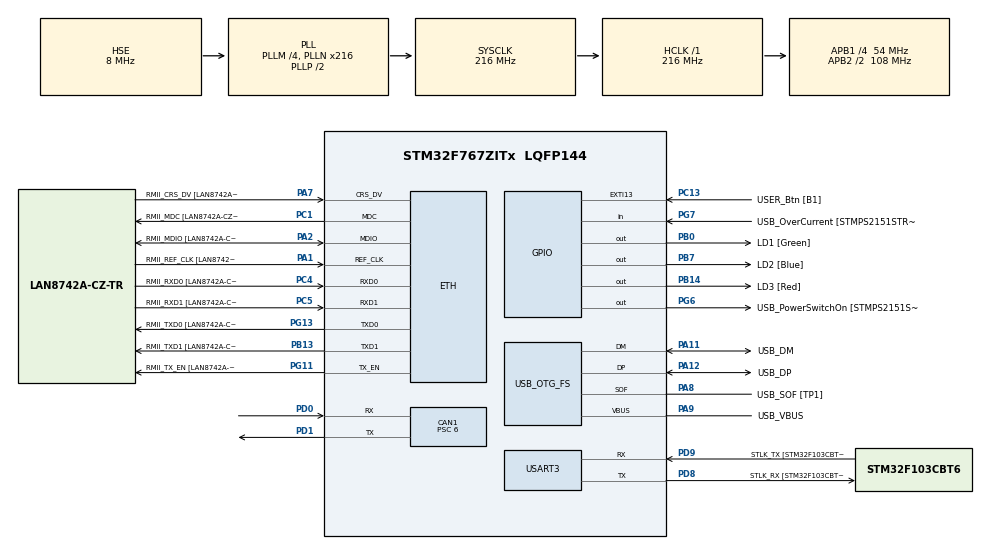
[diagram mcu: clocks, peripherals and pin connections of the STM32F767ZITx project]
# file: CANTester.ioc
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CAN1.BS1=CAN_BS1_7TQ
CAN1.CalculateBaudRate=1000000
CAN1.CalculateTimeBit=1000
CAN1.CalculateTimeQuantum=111.11111111111111
CAN1.NART=ENABLE
CAN1.Prescaler=6
CAN1.SJW=CAN_SJW_2TQ
ETH.MediaInterface=HAL_ETH_RMII_MODE
ETH.PHY_Name=LAN8742A_PHY_ADDRESS
ETH.PHY_Value=0
ETH.PhyAddress=0
Mcu.Family=STM32F7
Mcu.Name=STM32F767ZITx
Mcu.Package=LQFP144
NVIC.CAN1_RX0_IRQn=true\:0\:0\:false\:false\:true\:true\:true\:true
NVIC.CAN1_RX1_IRQn=true\:0\:0\:false\:false\:true\:true\:true\:true
NVIC.CAN1_SCE_IRQn=true\:0\:0\:false\:false\:true\:true\:true\:true
NVIC.CAN1_TX_IRQn=true\:0\:0\:false\:false\:true\:true\:true\:true
NVIC.PriorityGroup=NVIC_PRIORITYGROUP_4
PA1.GPIO_Label=RMII_REF_CLK [LAN8742A-CZ-TR_REFCLK0]
PA1.Mode=RMII
PA1.Signal=ETH_REF_CLK
PA10.GPIO_Label=USB_ID
PA10.Signal=USB_OTG_FS_ID
PA11.GPIO_Label=USB_DM
PA11.Mode=Device_Only
PA11.Signal=USB_OTG_FS_DM
PA12.GPIO_Label=USB_DP
PA12.Mode=Device_Only
PA12.Signal=USB_OTG_FS_DP
PA13.GPIO_Label=TMS
PA13.Mode=Serial_Wire
PA13.Signal=SYS_JTMS-SWDIO
PA14.GPIO_Label=TCK
PA14.Mode=Serial_Wire
PA14.Signal=SYS_JTCK-SWCLK
PA2.GPIO_Label=RMII_MDIO [LAN8742A-CZ-TR_MDIO]
PA2.Mode=RMII
PA2.Signal=ETH_MDIO
PA7.GPIO_Label=RMII_CRS_DV [LAN8742A-CZ-TR_CRS_DV]
PA7.Mode=RMII
PA7.Signal=ETH_CRS_DV
PA8.GPIO_Label=USB_SOF [TP1]
PA8.Mode=Activate_SOF_FS
PA8.Signal=USB_OTG_FS_SOF
PA9.GPIO_Label=USB_VBUS
PA9.Mode=Activate_VBUS
PA9.Signal=USB_OTG_FS_VBUS
PB0.GPIO_Label=LD1 [Green]
PB0.Signal=GPIO_Output
PB13.GPIO_Label=RMII_TXD1 [LAN8742A-CZ-TR_TXD1]
PB13.Mode=RMII
PB13.Signal=ETH_TXD1
PB14.GPIO_Label=LD3 [Red]
PB14.Signal=GPIO_Output
PB3.GPIO_Label=SWO
PB3.Signal=SYS_JTDO-SWO
PB7.GPIO_Label=LD2 [Blue]
PB7.Signal=GPIO_Output
PC1.GPIO_Label=RMII_MDC [LAN8742A-CZ-TR_MDC]
PC1.Mode=RMII
PC1.Signal=ETH_MDC
PC13.GPIO_Label=USER_Btn [B1]
PC13.Signal=GPXTI13
PC14/OSC32_IN.Mode=LSE-External-Oscillator
PC14/OSC32_IN.Signal=RCC_OSC32_IN
PC15/OSC32_OUT.Mode=LSE-External-Oscillator
PC15/OSC32_OUT.Signal=RCC_OSC32_OUT
PC4.GPIO_Label=RMII_RXD0 [LAN8742A-CZ-TR_RXD0]
PC4.Mode=RMII
PC4.Signal=ETH_RXD0
PC5.GPIO_Label=RMII_RXD1 [LAN8742A-CZ-TR_RXD1]
PC5.Mode=RMII
PC5.Signal=ETH_RXD1
PD0.Mode=CAN_Activate
PD0.Signal=CAN1_RX
PD1.Mode=CAN_Activate
PD1.Signal=CAN1_TX
PD8.GPIO_Label=STLK_RX [STM32F103CBT6_PA3]
PD8.Mode=Asynchronous
PD8.Signal=USART3_TX
PD9.GPIO_Label=STLK_TX [STM32F103CBT6_PA2]
PD9.Mode=Asynchronous
PD9.Signal=USART3_RX
PG11.GPIO_Label=RMII_TX_EN [LAN8742A-CZ-TR_TXEN]
PG11.Mode=RMII
PG11.Signal=ETH_TX_EN
PG13.GPIO_Label=RMII_TXD0 [LAN8742A-CZ-TR_TXD0]
PG13.Mode=RMII
PG13.Signal=ETH_TXD0
PG6.GPIO_Label=USB_PowerSwitchOn [STMPS2151STR_EN]
PG6.Signal=GPIO_Output
PG7.GPIO_Label=USB_OverCurrent [STMPS2151STR_FAULT]
PG7.Signal=GPIO_Input
PH0/OSC_IN.GPIO_Label=MCO [STM32F103CBT6_PA8]
PH0/OSC_IN.Mode=HSE-External-Clock-Source
PH0/OSC_IN.Signal=RCC_OSC_IN
PH1/OSC_OUT.Mode=HSE-External-Clock-Source
PH1/OSC_OUT.Signal=RCC_OSC_OUT
ProjectManager.HeapSize=0x200
ProjectManager.StackSize=0x400
ProjectManager.TargetToolchain=STM32CubeIDE
RCC.48MHZClocksFreq_Value=24000000
RCC.AHBFreq_Value=216000000
RCC.APB1CLKDivider=RCC_HCLK_DIV4
RCC.APB1Freq_Value=54000000
RCC.APB1TimFreq_Value=108000000
RCC.APB2CLKDivider=RCC_HCLK_DIV2
RCC.APB2Freq_Value=108000000
RCC.APB2TimFreq_Value=216000000
RCC.CortexFreq_Value=216000000
RCC.HCLKFreq_Value=216000000
RCC.HSE_VALUE=8000000
RCC.HSI_VALUE=16000000
RCC.PLLM=4
RCC.PLLMUL=RCC_PLL_MUL9
RCC.PLLN=216
RCC.PLLQ=9
RCC.PRESCALERUSB=RCC_USBCLKSOURCE_PLL_DIV1_5
RCC.SYSCLKFreq_VALUE=216000000
RCC.SYSCLKSource=RCC_SYSCLKSOURCE_PLLCLK
RCC.SYSCLKSourceVirtual=RCC_SYSCLKSOURCE_PLLCLK
RCC.USBFreq_Value=48000000
RCC.VCOOutputFreq_Value=432000000
USART3.VirtualMode-Asynchronous=VM_ASYNC
USB_OTG_FS.VirtualMode=Device_Only
board=NUCLEO-F767ZI

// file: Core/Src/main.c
/* USER CODE BEGIN Header */
/**
 ******************************************************************************
 * @file           : main.c
 * @brief          : Main program body
 ******************************************************************************
 * @attention
 *
 * Copyright (c) 2022 STMicroelectronics.
 * All rights reserved.
 *
 * This software is licensed under terms that can be found in the LICENSE file
 * in the root directory of this software component.
 * If no LICENSE file comes with this software, it is provided AS-IS.
 *
 ******************************************************************************
 */
/* USER CODE END Header */
#include "main.h"
#include "string.h"
#include "libswap.h"

/* USER CODE BEGIN Includes */
#include "CANAgent.h"
/* USER CODE END Includes */

#if defined ( __ICCARM__ ) /*!< IAR Compiler */
#pragma location=0x2007c000
ETH_DMADescTypeDef  DMARxDscrTab[ETH_RX_DESC_CNT]; /* Ethernet Rx DMA Descriptors */
#pragma location=0x2007c0a0
ETH_DMADescTypeDef  DMATxDscrTab[ETH_TX_DESC_CNT]; /* Ethernet Tx DMA Descriptors */

#elif defined ( __CC_ARM )  /* MDK ARM Compiler */

__attribute__((at(0x2007c000))) ETH_DMADescTypeDef  DMARxDscrTab[ETH_RX_DESC_CNT]; /* Ethernet Rx DMA Descriptors */
__attribute__((at(0x2007c0a0))) ETH_DMADescTypeDef  DMATxDscrTab[ETH_TX_DESC_CNT]; /* Ethernet Tx DMA Descriptors */

#elif defined ( __GNUC__ ) /* GNU Compiler */
ETH_DMADescTypeDef DMARxDscrTab[ETH_RX_DESC_CNT] __attribute__((section(".RxDecripSection"))); /* Ethernet Rx DMA Descriptors */
ETH_DMADescTypeDef DMATxDscrTab[ETH_TX_DESC_CNT] __attribute__((section(".TxDecripSection")));   /* Ethernet Tx DMA Descriptors */

#endif

ETH_TxPacketConfig TxConfig;

CAN_HandleTypeDef hcan1;

ETH_HandleTypeDef heth;

UART_HandleTypeDef huart3;

PCD_HandleTypeDef hpcd_USB_OTG_FS;

/* USER CODE BEGIN PV */
CAN_TxHeaderTypeDef   TxHeaderSapState;
CAN_TxHeaderTypeDef   TxHeaderErrorMessage;
//CAN_TxHeaderTypeDef   TxHeader;
//CAN_RxHeaderTypeDef   RxHeader;
//uint8_t               TxData[8];
//uint8_t               RxData[8];
uint32_t              TxMailbox;
/* USER CODE END PV */

void SystemClock_Config(void);
static void MX_GPIO_Init(void);
static void MX_ETH_Init(void);
static void MX_USART3_UART_Init(void);
static void MX_USB_OTG_FS_PCD_Init(void);
static void MX_CAN1_Init(void);

int main(void)
{

  /* MCU Configuration--------------------------------------------------------*/

  /* Reset of all peripherals, Initializes the Flash interface and the Systick. */
  HAL_Init();

  /* Configure the system clock */
  SystemClock_Config();

  /* Initialize all configured peripherals */
  MX_GPIO_Init();
  MX_ETH_Init();
  MX_USART3_UART_Init();
  MX_USB_OTG_FS_PCD_Init();
  MX_CAN1_Init();
  /* USER CODE BEGIN 2 */
  uint8_t msgCounter = 0;
  isGreaterThanZero(-3);
  /* USER CODE END 2 */

  /* Infinite loop */
  /* USER CODE BEGIN WHILE */
	while (1)
	{
		msgCounter++;

		uint32_t localV = 0;
		localV = HAL_CAN_GetTxMailboxesFreeLevel(&hcan1);
		/* Start the Transmission process */
		if (msgCounter >= 9)
		{
			TxData[0] = 0x00;
			TxData[1] = 0xff;
			TxData[2] = 0xAA;
			TxData[3] = 0x00;
			TxData[4] = 0x00;
			TxData[5] = 0x00;
			TxData[6] = 0xAD;
			TxData[7] = 0x3D;
			if (HAL_CAN_AddTxMessage(&hcan1, &TxHeaderSapState, TxData, &TxMailbox) != HAL_OK)
			{
				/* Transmission request Error */
				Error_Handler();
			}
			msgCounter = 0;
		}
		else
		{
			TxData[0] = 0xBB;
			TxData[1] = 0x55;
			TxData[2] = 0x19;
			TxData[3] = 0x00;
			TxData[4] = 0xAA;
			TxData[5] = 0x11;
			TxData[6] = 0x00;
			TxData[7] = 0x00;
			if (HAL_CAN_AddTxMessage(&hcan1, &TxHeaderErrorMessage, TxData, &TxMailbox) != HAL_OK)
			{
				/* Transmission request Error */
				Error_Handler();
			}

		}
		while(HAL_CAN_GetTxMailboxesFreeLevel(&hcan1) != 3)
		{
			localV = HAL_CAN_GetTxMailboxesFreeLevel(&hcan1);
		}
		HAL_Delay(100);

		/*##-5- Start the Reception process ########################################*/
		uint32_t localRet = HAL_CAN_GetRxFifoFillLevel(&hcan1, CAN_RX_FIFO0);
		//	  if(HAL_CAN_GetRxFifoFillLevel(&hcan1, CAN_RX_FIFO0) != 1)
		//	  {
		//		  /* Reception Missing */
		//		  Error_Handler();
		//	  }
		if (localRet > 0)
		{
			if(HAL_CAN_GetRxMessage(&hcan1, CAN_RX_FIFO0, &RxHeader, RxData) != HAL_OK)
			{
				/* Reception Error */
				Error_Handler();
			}
		}
    /* USER CODE END WHILE */

	}
}

void SystemClock_Config(void)
{
  RCC_OscInitTypeDef RCC_OscInitStruct = {0};
  RCC_ClkInitTypeDef RCC_ClkInitStruct = {0};

  /** Configure LSE Drive Capability
  */
  HAL_PWR_EnableBkUpAccess();

  /** Configure the main internal regulator output voltage
  */
  __HAL_RCC_PWR_CLK_ENABLE();
  __HAL_PWR_VOLTAGESCALING_CONFIG(PWR_REGULATOR_VOLTAGE_SCALE1);

  /** Initializes the RCC Oscillators according to the specified parameters
  * in the RCC_OscInitTypeDef structure.
  */
  RCC_OscInitStruct.OscillatorType = RCC_OSCILLATORTYPE_HSE;
  RCC_OscInitStruct.HSEState = RCC_HSE_BYPASS;
  RCC_OscInitStruct.PLL.PLLState = RCC_PLL_ON;
  RCC_OscInitStruct.PLL.PLLSource = RCC_PLLSOURCE_HSE;
  RCC_OscInitStruct.PLL.PLLM = 4;
  RCC_OscInitStruct.PLL.PLLN = 216;
  RCC_OscInitStruct.PLL.PLLP = RCC_PLLP_DIV2;
  RCC_OscInitStruct.PLL.PLLQ = 9;
  RCC_OscInitStruct.PLL.PLLR = 2;
  if (HAL_RCC_OscConfig(&RCC_OscInitStruct) != HAL_OK)
  {
    Error_Handler();
  }

  /** Activate the Over-Drive mode
  */
  if (HAL_PWREx_EnableOverDrive() != HAL_OK)
  {
    Error_Handler();
  }

  /** Initializes the CPU, AHB and APB buses clocks
  */
  RCC_ClkInitStruct.ClockType = RCC_CLOCKTYPE_HCLK|RCC_CLOCKTYPE_SYSCLK
                              |RCC_CLOCKTYPE_PCLK1|RCC_CLOCKTYPE_PCLK2;
  RCC_ClkInitStruct.SYSCLKSource = RCC_SYSCLKSOURCE_PLLCLK;
  RCC_ClkInitStruct.AHBCLKDivider = RCC_SYSCLK_DIV1;
  RCC_ClkInitStruct.APB1CLKDivider = RCC_HCLK_DIV4;
  RCC_ClkInitStruct.APB2CLKDivider = RCC_HCLK_DIV2;

  if (HAL_RCC_ClockConfig(&RCC_ClkInitStruct, FLASH_LATENCY_7) != HAL_OK)
  {
    Error_Handler();
  }
}

static void MX_CAN1_Init(void)
{

  /* USER CODE BEGIN CAN1_Init 0 */
//
  /* USER CODE END CAN1_Init 0 */

  /* USER CODE BEGIN CAN1_Init 1 */
////https://schulz-m.github.io/2017/03/23/stm32-can-id-filter/
  /* USER CODE END CAN1_Init 1 */
  hcan1.Instance = CAN1;
  hcan1.Init.Prescaler = 6;
  hcan1.Init.Mode = CAN_MODE_NORMAL;
  hcan1.Init.SyncJumpWidth = CAN_SJW_2TQ;
  hcan1.Init.TimeSeg1 = CAN_BS1_7TQ;
  hcan1.Init.TimeSeg2 = CAN_BS2_1TQ;
  hcan1.Init.TimeTriggeredMode = DISABLE;
  hcan1.Init.AutoBusOff = DISABLE;
  hcan1.Init.AutoWakeUp = DISABLE;
  hcan1.Init.AutoRetransmission = ENABLE;
  hcan1.Init.ReceiveFifoLocked = DISABLE;
  hcan1.Init.TransmitFifoPriority = DISABLE;
  if (HAL_CAN_Init(&hcan1) != HAL_OK)
  {
    Error_Handler();
  }
  /* USER CODE BEGIN CAN1_Init 2 */
	CAN_FilterTypeDef  sFilterConfig;
	sFilterConfig.FilterBank = 0;
	sFilterConfig.FilterMode = CAN_FILTERMODE_IDMASK;
	sFilterConfig.FilterScale = CAN_FILTERSCALE_32BIT;
	sFilterConfig.FilterIdHigh = 0x0000;
	sFilterConfig.FilterIdLow = 0x0000;
	sFilterConfig.FilterMaskIdHigh = 0x0000;
	sFilterConfig.FilterMaskIdLow = 0x0000;
	sFilterConfig.FilterFIFOAssignment = CAN_RX_FIFO0;
	sFilterConfig.FilterActivation = ENABLE;
	sFilterConfig.SlaveStartFilterBank = 14;

	if (HAL_CAN_ConfigFilter(&hcan1, &sFilterConfig) != HAL_OK)
	{
		/* Filter configuration Error */
		Error_Handler();
	}

	/*##-3- Start the CAN peripheral ###########################################*/
	if (HAL_CAN_Start(&hcan1) != HAL_OK)
	{
		/* Start Error */
		Error_Handler();
	}

	/*##-4- Activate CAN RX notification #######################################*/
	if (HAL_CAN_ActivateNotification(&hcan1, CAN_IT_RX_FIFO0_MSG_PENDING) != HAL_OK)
	{
		/* Notification Error */
		Error_Handler();
	}

	/*##-5- Configure Transmission process #####################################*/
	TxHeaderSapState.StdId = 0x160;
	TxHeaderSapState.ExtId = 0x00;
	TxHeaderSapState.RTR = CAN_RTR_DATA;
	TxHeaderSapState.IDE = CAN_ID_STD;
	TxHeaderSapState.DLC = 8;
	TxHeaderSapState.TransmitGlobalTime = DISABLE;

	TxHeaderErrorMessage.StdId = 0x085;
	TxHeaderErrorMessage.ExtId = 0x00;
	TxHeaderErrorMessage.RTR = CAN_RTR_DATA;
	TxHeaderErrorMessage.IDE = CAN_ID_STD;
	TxHeaderErrorMessage.DLC = 8;
	TxHeaderErrorMessage.TransmitGlobalTime = DISABLE;
  /* USER CODE END CAN1_Init 2 */

}

static void MX_ETH_Init(void)
{

  /* USER CODE BEGIN ETH_Init 0 */
//
  /* USER CODE END ETH_Init 0 */

   static uint8_t MACAddr[6];

  /* USER CODE BEGIN ETH_Init 1 */
//
  /* USER CODE END ETH_Init 1 */
  heth.Instance = ETH;
  MACAddr[0] = 0x00;
  MACAddr[1] = 0x80;
  MACAddr[2] = 0xE1;
  MACAddr[3] = 0x00;
  MACAddr[4] = 0x00;
  MACAddr[5] = 0x00;
  heth.Init.MACAddr = &MACAddr[0];
  heth.Init.MediaInterface = HAL_ETH_RMII_MODE;
  heth.Init.TxDesc = DMATxDscrTab;
  heth.Init.RxDesc = DMARxDscrTab;
  heth.Init.RxBuffLen = 1524;

  /* USER CODE BEGIN MACADDRESS */
//
  /* USER CODE END MACADDRESS */

  if (HAL_ETH_Init(&heth) != HAL_OK)
  {
    Error_Handler();
  }

  memset(&TxConfig, 0 , sizeof(ETH_TxPacketConfig));
  TxConfig.Attributes = ETH_TX_PACKETS_FEATURES_CSUM | ETH_TX_PACKETS_FEATURES_CRCPAD;
  TxConfig.ChecksumCtrl = ETH_CHECKSUM_IPHDR_PAYLOAD_INSERT_PHDR_CALC;
  TxConfig.CRCPadCtrl = ETH_CRC_PAD_INSERT;
  /* USER CODE BEGIN ETH_Init 2 */
//
  /* USER CODE END ETH_Init 2 */

}

static void MX_USART3_UART_Init(void)
{

  /* USER CODE BEGIN USART3_Init 0 */
//
  /* USER CODE END USART3_Init 0 */

  /* USER CODE BEGIN USART3_Init 1 */
//
  /* USER CODE END USART3_Init 1 */
  huart3.Instance = USART3;
  huart3.Init.BaudRate = 115200;
  huart3.Init.WordLength = UART_WORDLENGTH_8B;
  huart3.Init.StopBits = UART_STOPBITS_1;
  huart3.Init.Parity = UART_PARITY_NONE;
  huart3.Init.Mode = UART_MODE_TX_RX;
  huart3.Init.HwFlowCtl = UART_HWCONTROL_NONE;
  huart3.Init.OverSampling = UART_OVERSAMPLING_16;
  huart3.Init.OneBitSampling = UART_ONE_BIT_SAMPLE_DISABLE;
  huart3.AdvancedInit.AdvFeatureInit = UART_ADVFEATURE_NO_INIT;
  if (HAL_UART_Init(&huart3) != HAL_OK)
  {
    Error_Handler();
  }
  /* USER CODE BEGIN USART3_Init 2 */
//
  /* USER CODE END USART3_Init 2 */

}

static void MX_USB_OTG_FS_PCD_Init(void)
{

  /* USER CODE BEGIN USB_OTG_FS_Init 0 */
//
  /* USER CODE END USB_OTG_FS_Init 0 */

  /* USER CODE BEGIN USB_OTG_FS_Init 1 */
//
  /* USER CODE END USB_OTG_FS_Init 1 */
  hpcd_USB_OTG_FS.Instance = USB_OTG_FS;
  hpcd_USB_OTG_FS.Init.dev_endpoints = 6;
  hpcd_USB_OTG_FS.Init.speed = PCD_SPEED_FULL;
  hpcd_USB_OTG_FS.Init.dma_enable = DISABLE;
  hpcd_USB_OTG_FS.Init.phy_itface = PCD_PHY_EMBEDDED;
  hpcd_USB_OTG_FS.Init.Sof_enable = ENABLE;
  hpcd_USB_OTG_FS.Init.low_power_enable = DISABLE;
  hpcd_USB_OTG_FS.Init.lpm_enable = DISABLE;
  hpcd_USB_OTG_FS.Init.vbus_sensing_enable = ENABLE;
  hpcd_USB_OTG_FS.Init.use_dedicated_ep1 = DISABLE;
  if (HAL_PCD_Init(&hpcd_USB_OTG_FS) != HAL_OK)
  {
    Error_Handler();
  }
  /* USER CODE BEGIN USB_OTG_FS_Init 2 */
//
  /* USER CODE END USB_OTG_FS_Init 2 */

}

static void MX_GPIO_Init(void)
{
  GPIO_InitTypeDef GPIO_InitStruct = {0};

  /* GPIO Ports Clock Enable */
  __HAL_RCC_GPIOC_CLK_ENABLE();
  __HAL_RCC_GPIOH_CLK_ENABLE();
  __HAL_RCC_GPIOA_CLK_ENABLE();
  __HAL_RCC_GPIOB_CLK_ENABLE();
  __HAL_RCC_GPIOD_CLK_ENABLE();
  __HAL_RCC_GPIOG_CLK_ENABLE();

  /*Configure GPIO pin Output Level */
  HAL_GPIO_WritePin(GPIOB, LD1_Pin|LD3_Pin|LD2_Pin, GPIO_PIN_RESET);

  /*Configure GPIO pin Output Level */
  HAL_GPIO_WritePin(USB_PowerSwitchOn_GPIO_Port, USB_PowerSwitchOn_Pin, GPIO_PIN_RESET);

  /*Configure GPIO pin : USER_Btn_Pin */
  GPIO_InitStruct.Pin = USER_Btn_Pin;
  GPIO_InitStruct.Mode = GPIO_MODE_IT_RISING;
  GPIO_InitStruct.Pull = GPIO_NOPULL;
  HAL_GPIO_Init(USER_Btn_GPIO_Port, &GPIO_InitStruct);

  /*Configure GPIO pins : LD1_Pin LD3_Pin LD2_Pin */
  GPIO_InitStruct.Pin = LD1_Pin|LD3_Pin|LD2_Pin;
  GPIO_InitStruct.Mode = GPIO_MODE_OUTPUT_PP;
  GPIO_InitStruct.Pull = GPIO_NOPULL;
  GPIO_InitStruct.Speed = GPIO_SPEED_FREQ_LOW;
  HAL_GPIO_Init(GPIOB, &GPIO_InitStruct);

  /*Configure GPIO pin : USB_PowerSwitchOn_Pin */
  GPIO_InitStruct.Pin = USB_PowerSwitchOn_Pin;
  GPIO_InitStruct.Mode = GPIO_MODE_OUTPUT_PP;
  GPIO_InitStruct.Pull = GPIO_NOPULL;
  GPIO_InitStruct.Speed = GPIO_SPEED_FREQ_LOW;
  HAL_GPIO_Init(USB_PowerSwitchOn_GPIO_Port, &GPIO_InitStruct);

  /*Configure GPIO pin : USB_OverCurrent_Pin */
  GPIO_InitStruct.Pin = USB_OverCurrent_Pin;
  GPIO_InitStruct.Mode = GPIO_MODE_INPUT;
  GPIO_InitStruct.Pull = GPIO_NOPULL;
  HAL_GPIO_Init(USB_OverCurrent_GPIO_Port, &GPIO_InitStruct);

}

void Error_Handler(void)
{
	__disable_irq();
	while (1)
	{
	}
}
